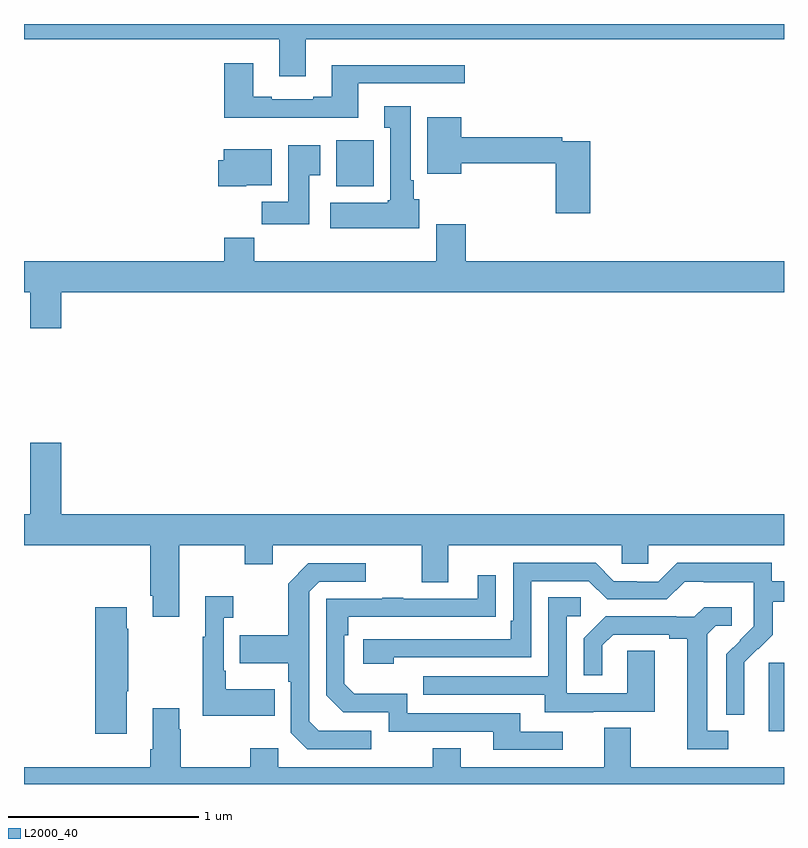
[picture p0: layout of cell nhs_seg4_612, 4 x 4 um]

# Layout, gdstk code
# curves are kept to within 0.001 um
import gdstk
lib = gdstk.Library(unit=1e-6, precision=1e-09)
def R(c, l, rs):  # rectangles x0, y0, x1, y1
    for r in rs: c.add(gdstk.rectangle(r[:2], r[2:], *l))
def P(c, l, *ps):  # polygons
    for p in ps: c.add(gdstk.Polygon(p, *l))
L2000_40 = (2000, 40)

nhs_seg4_612 = lib.new_cell('nhs_seg4_612')
R(nhs_seg4_612, L2000_40, [(144.92,793.178,145,793.539), (142.643,796.046,142.84,796.288)])
P(nhs_seg4_612, L2000_40, [(145,796.9),(141,796.9),(141,796.82),(142.343,796.82),(142.343,796.626),(142.483,796.626),(142.483,796.82),(145,796.82)],
  [(142.759,796.587),(143.32,796.587),(143.32,796.684),(142.619,796.684),(142.619,796.516),(142.523,796.516),(142.523,796.503),(142.303,796.503),(142.303,796.516),(142.207,796.516),(142.207,796.693),(142.055,796.693),(142.055,796.406),(142.759,796.406)],
  [(143.08,795.978),(143.05,795.978),(143.05,796.078),(143.035,796.078),(143.035,796.468),(142.895,796.468),(142.895,796.355),(142.928,796.355),(142.928,795.972),(142.915,795.972),(142.915,795.958),(142.611,795.958),(142.611,795.824),(143.08,795.824)],
  [(143.981,796.284),(143.834,796.284),(143.834,796.304),(143.302,796.304),(143.302,796.408),(143.123,796.408),(143.123,796.112),(143.302,796.112),(143.302,796.168),(143.798,796.168),(143.798,795.903),(143.981,795.903)],
  [(142.501,796.105),(142.558,796.105),(142.558,796.261),(142.391,796.261),(142.391,795.964),(142.252,795.964),(142.252,795.846),(142.501,795.846)],
  [(142.17,796.052),(142.303,796.052),(142.303,796.24),(142.052,796.24),(142.052,796.182),(142.022,796.182),(142.022,796.046),(142.17,796.046)],
  [(141.196,795.488),(145,795.488),(145,795.652),(143.324,795.652),(143.324,795.847),(143.171,795.847),(143.171,795.652),(142.211,795.652),(142.211,795.776),(142.055,795.776),(142.055,795.652),(141,795.652),(141,795.488),(141.032,795.488),(141.032,795.3),(141.196,795.3)],
  [(141.196,794.695),(141.032,794.695),(141.032,794.32),(141,794.32),(141,794.156),(141.665,794.156),(141.665,793.891),(141.677,793.891),(141.677,793.779),(141.817,793.779),(141.817,794.156),(142.162,794.156),(142.162,794.057),(142.309,794.057),(142.309,794.156),(143.093,794.156),(143.093,793.962),(143.233,793.962),(143.233,794.156),(144.147,794.156),(144.147,794.058),(144.285,794.058),(144.285,794.156),(145,794.156),(145,794.32),(141.196,794.32)],
  [(144.792,793.418),(144.791,793.541),(144.861,793.611),(144.864,793.608),(144.941,793.685),(144.941,793.86),(145,793.86),(145,793.968),(144.936,793.968),(144.936,794.065),(144.439,794.065),(144.339,793.965),(144.224,793.965),(144.224,793.968),(144.105,793.968),(144.009,794.064),(143.574,794.064),(143.574,793.759),(143.561,793.759),(143.561,793.662),(142.785,793.662),(142.785,793.532),(142.946,793.532),(142.946,793.566),(143.67,793.566),(143.67,793.968),(143.973,793.968),(144.069,793.872),(144.384,793.872),(144.477,793.965),(144.577,793.965),(144.577,793.961),(144.84,793.961),(144.84,793.827),(144.842,793.827),(144.842,793.73),(144.696,793.582),(144.696,793.264),(144.792,793.264)],
  [(142.828,793.179),(142.551,793.179),(142.5,793.23),(142.5,793.911),(142.554,793.965),(142.798,793.965),(142.798,794.061),(142.497,794.061),(142.392,793.955),(142.392,793.683),(142.135,793.683),(142.135,793.535),(142.392,793.535),(142.392,793.439),(142.404,793.439),(142.404,793.17),(142.491,793.083),(142.828,793.083)],
  [(143.836,793.176),(143.611,793.176),(143.611,793.272),(143.016,793.272),(143.016,793.375),(142.739,793.375),(142.686,793.428),(142.686,793.682),(142.706,793.682),(142.706,793.779),(143.483,793.78),(143.483,793.999),(143.387,793.999),(143.387,793.875),(142.997,793.875),(142.997,793.88),(142.885,793.88),(142.885,793.875),(142.59,793.875),(142.59,793.368),(142.68,793.278),(142.92,793.278),(142.92,793.176),(143.471,793.176),(143.471,793.08),(143.836,793.08)],
  [(142.319,793.399),(142.063,793.399),(142.063,793.495),(142.05,793.495),(142.05,793.775),(142.102,793.775),(142.102,793.888),(141.953,793.888),(141.953,793.675),(141.942,793.675),(141.942,793.259),(142.319,793.259)],
  [(143.995,793.281),(144.319,793.281),(144.319,793.601),(144.174,793.601),(144.174,793.377),(143.856,793.377),(143.856,793.782),(143.929,793.782),(143.929,793.883),(143.76,793.883),(143.76,793.467),(143.101,793.467),(143.101,793.371),(143.741,793.371),(143.741,793.277),(143.995,793.277)],
  [(144.706,793.179),(144.595,793.179),(144.595,793.687),(144.642,793.734),(144.724,793.734),(144.724,793.831),(144.58,793.831),(144.528,793.779),(144.434,793.779),(144.434,793.782),(144.062,793.782),(143.946,793.666),(143.946,793.473),(144.043,793.473),(144.043,793.629),(144.1,793.686),(144.395,793.686),(144.395,793.664),(144.491,793.664),(144.491,793.083),(144.706,793.083)],
  [(141.541,793.387),(141.549,793.387),(141.549,793.718),(141.541,793.718),(141.541,793.831),(141.374,793.831),(141.374,793.164),(141.541,793.164)],
  [(145,792.988),(144.193,792.988),(144.193,793.196),(144.053,793.196),(144.053,792.988),(143.299,792.988),(143.299,793.087),(143.152,793.087),(143.152,792.988),(142.338,792.988),(142.338,793.087),(142.192,793.087),(142.192,792.988),(141.825,792.988),(141.825,793.187),(141.817,793.187),(141.817,793.3),(141.677,793.3),(141.677,793.084),(141.665,793.084),(141.665,792.988),(141,792.988),(141,792.9),(145,792.9)])

lib.write_gds('nhs_seg4_612.gds')
